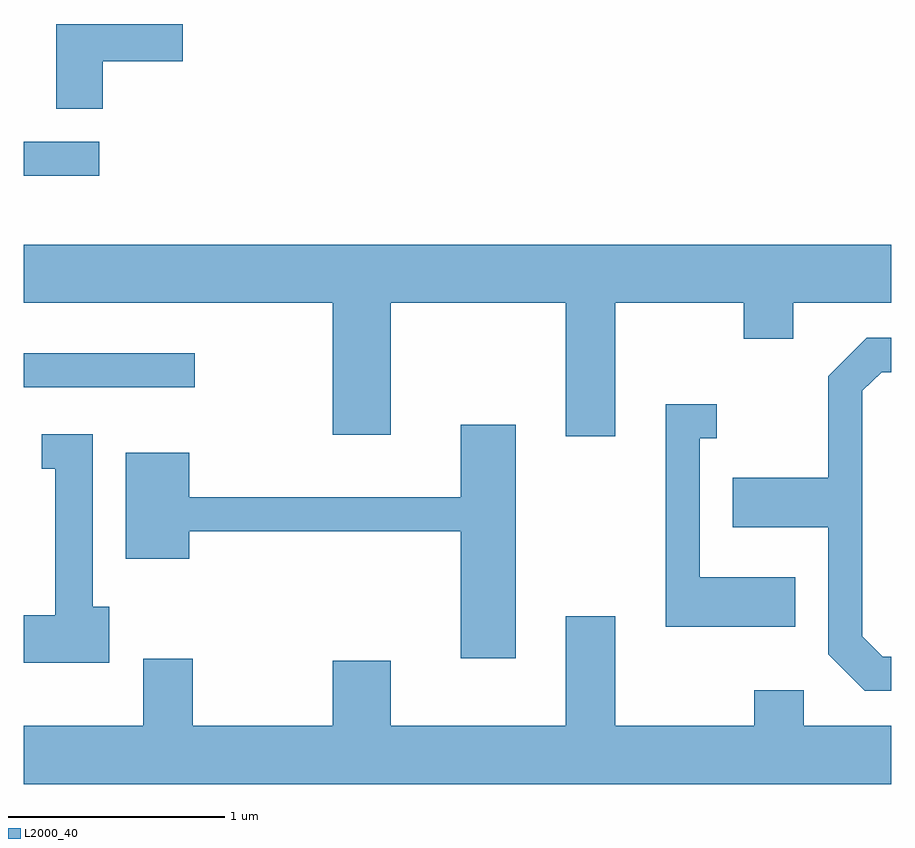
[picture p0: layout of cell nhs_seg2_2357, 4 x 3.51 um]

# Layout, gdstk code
import gdstk
lib = gdstk.Library(unit=1e-6, precision=1e-09)
def R(c, l, rs):  # rectangles x0, y0, x1, y1
    for r in rs: c.add(gdstk.rectangle(r[:2], r[2:], *l))
def P(c, l, *ps):  # polygons
    for p in ps: c.add(gdstk.Polygon(p, *l))
L2000_40 = (2000, 40)

nhs_seg2_2357 = lib.new_cell('nhs_seg2_2357')
R(nhs_seg2_2357, L2000_40, [(253.611,1070.126,254.398,1070.284), (253.611,1071.101,253.958,1071.259)])
P(nhs_seg2_2357, L2000_40, [(253.974,1071.631),(254.344,1071.631),(254.344,1071.802),(253.761,1071.802),(253.761,1071.411),(253.974,1071.411)],
  [(256.339,1070.516),(256.931,1070.516),(256.931,1070.351),(257.159,1070.351),(257.159,1070.516),(257.611,1070.516),(257.611,1070.784),(253.611,1070.784),(253.611,1070.516),(255.036,1070.516),(255.036,1069.906),(255.304,1069.906),(255.304,1070.516),(256.111,1070.516),(256.111,1069.901),(256.339,1069.901)],
  [(257.611,1068.884),(257.572,1068.884),(257.479,1068.977),(257.479,1070.109),(257.567,1070.196),(257.611,1070.196),(257.611,1070.354),(257.498,1070.354),(257.321,1070.177),(257.321,1069.709),(256.881,1069.709),(256.881,1069.481),(257.321,1069.481),(257.321,1068.894),(257.489,1068.726),(257.611,1068.726)],
  [(257.169,1069.249),(256.729,1069.249),(256.729,1069.891),(256.808,1069.891),(256.808,1070.049),(256.571,1070.049),(256.571,1069.021),(257.169,1069.021)],
  [(255.879,1069.954),(255.626,1069.954),(255.626,1069.619),(254.374,1069.619),(254.374,1069.824),(254.081,1069.824),(254.081,1069.336),(254.374,1069.336),(254.374,1069.461),(255.626,1069.461),(255.626,1068.876),(255.879,1068.876)],
  [(254.004,1069.114),(253.929,1069.114),(253.929,1069.909),(253.693,1069.909),(253.693,1069.751),(253.756,1069.751),(253.756,1069.074),(253.611,1069.074),(253.611,1068.856),(254.004,1068.856)],
  [(257.611,1068.564),(257.209,1068.564),(257.209,1068.729),(256.981,1068.729),(256.981,1068.564),(256.339,1068.564),(256.339,1069.069),(256.111,1069.069),(256.111,1068.564),(255.304,1068.564),(255.304,1068.864),(255.036,1068.864),(255.036,1068.564),(254.389,1068.564),(254.389,1068.874),(254.161,1068.874),(254.161,1068.564),(253.611,1068.564),(253.611,1068.296),(257.611,1068.296)])

lib.write_gds('nhs_seg2_2357.gds')
